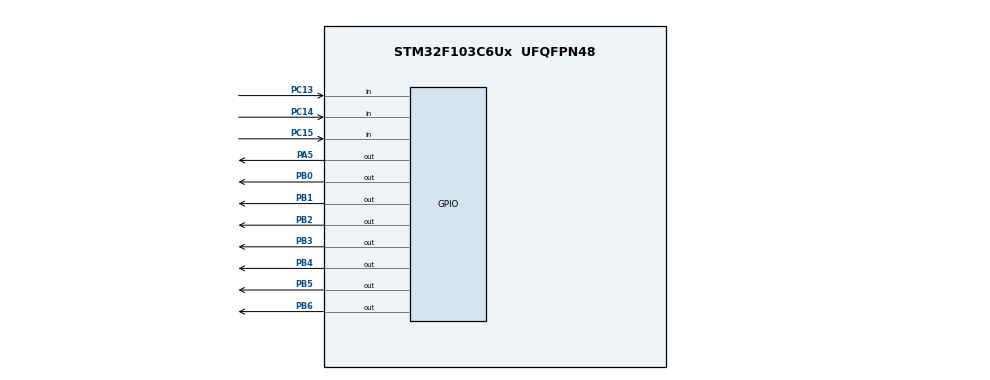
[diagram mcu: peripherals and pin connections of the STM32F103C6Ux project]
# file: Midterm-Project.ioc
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Mcu.Family=STM32F1
Mcu.Name=STM32F103C6Ux
Mcu.Package=UFQFPN48
NVIC.PriorityGroup=NVIC_PRIORITYGROUP_4
NVIC.TIM2_IRQn=true\:0\:0\:false\:false\:true\:true\:true
PA5.Signal=GPIO_Output
PB0.Signal=GPIO_Output
PB1.Signal=GPIO_Output
PB2.Signal=GPIO_Output
PB3.Signal=GPIO_Output
PB4.Signal=GPIO_Output
PB5.Signal=GPIO_Output
PB6.Signal=GPIO_Output
PC13-TAMPER-RTC.GPIO_PuPd=GPIO_PULLUP
PC13-TAMPER-RTC.Signal=GPIO_Input
PC14-OSC32_IN.GPIO_PuPd=GPIO_PULLUP
PC14-OSC32_IN.Signal=GPIO_Input
PC15-OSC32_OUT.GPIO_PuPd=GPIO_PULLUP
PC15-OSC32_OUT.Signal=GPIO_Input
ProjectManager.HeapSize=0x200
ProjectManager.StackSize=0x400
ProjectManager.TargetToolchain=STM32CubeIDE
RCC.APB1Freq_Value=8000000
RCC.APB2Freq_Value=8000000
TIM2.Period=9
TIM2.Prescaler=7999
VP_SYS_VS_ND.Mode=No_Debug
VP_TIM2_VS_ClockSourceINT.Mode=Internal
board=custom

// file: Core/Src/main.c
/* USER CODE BEGIN Header */
/**
  ******************************************************************************
  * @file           : main.c
  * @brief          : Main program body
  ******************************************************************************
  * @attention
  *
  * <h2><center>&copy; Copyright (c) 2022 STMicroelectronics.
  * All rights reserved.</center></h2>
  *
  * This software component is licensed by ST under BSD 3-Clause license,
  * the "License"; You may not use this file except in compliance with the
  * License. You may obtain a copy of the License at:
  *                        opensource.org/licenses/BSD-3-Clause
  *
  ******************************************************************************
  */
/* USER CODE END Header */
#include "main.h"

/* USER CODE BEGIN Includes */
#include "timer.h"
#include "7segdisplay.h"
#include "fsm_step1.h"
#include "button.h"
#include "DebugLed.h"
#include "fsm_step2.h"
#include "fsm_step3.h"
/* USER CODE END Includes */

TIM_HandleTypeDef htim2;

void SystemClock_Config(void);
static void MX_GPIO_Init(void);
static void MX_TIM2_Init(void);

int main(void)
{

  /* MCU Configuration--------------------------------------------------------*/

  /* Reset of all peripherals, Initializes the Flash interface and the Systick. */
  HAL_Init();

  /* Configure the system clock */
  SystemClock_Config();

  /* Initialize all configured peripherals */
  MX_GPIO_Init();
  MX_TIM2_Init();
  /* USER CODE BEGIN 2 */
  HAL_TIM_Base_Start_IT(&htim2);
  /* USER CODE END 2 */

  /* Infinite loop */
  /* USER CODE BEGIN WHILE */
  status = BUTT_0;
  ledstatus = LED_INIT;
  while (1)
  {
    /* USER CODE END WHILE */
	  fsm_step1();
	  DebugLed();
	  fsm_step2();
	  fsm_step3();
  }
}

void SystemClock_Config(void)
{
  RCC_OscInitTypeDef RCC_OscInitStruct = {0};
  RCC_ClkInitTypeDef RCC_ClkInitStruct = {0};

  /** Initializes the RCC Oscillators according to the specified parameters
  * in the RCC_OscInitTypeDef structure.
  */
  RCC_OscInitStruct.OscillatorType = RCC_OSCILLATORTYPE_HSI;
  RCC_OscInitStruct.HSIState = RCC_HSI_ON;
  RCC_OscInitStruct.HSICalibrationValue = RCC_HSICALIBRATION_DEFAULT;
  RCC_OscInitStruct.PLL.PLLState = RCC_PLL_NONE;
  if (HAL_RCC_OscConfig(&RCC_OscInitStruct) != HAL_OK)
  {
    Error_Handler();
  }
  /** Initializes the CPU, AHB and APB buses clocks
  */
  RCC_ClkInitStruct.ClockType = RCC_CLOCKTYPE_HCLK|RCC_CLOCKTYPE_SYSCLK
                              |RCC_CLOCKTYPE_PCLK1|RCC_CLOCKTYPE_PCLK2;
  RCC_ClkInitStruct.SYSCLKSource = RCC_SYSCLKSOURCE_HSI;
  RCC_ClkInitStruct.AHBCLKDivider = RCC_SYSCLK_DIV1;
  RCC_ClkInitStruct.APB1CLKDivider = RCC_HCLK_DIV1;
  RCC_ClkInitStruct.APB2CLKDivider = RCC_HCLK_DIV1;

  if (HAL_RCC_ClockConfig(&RCC_ClkInitStruct, FLASH_LATENCY_0) != HAL_OK)
  {
    Error_Handler();
  }
}

static void MX_TIM2_Init(void)
{

  TIM_ClockConfigTypeDef sClockSourceConfig = {0};
  TIM_MasterConfigTypeDef sMasterConfig = {0};

  htim2.Instance = TIM2;
  htim2.Init.Prescaler = 7999;
  htim2.Init.CounterMode = TIM_COUNTERMODE_UP;
  htim2.Init.Period = 9;
  htim2.Init.ClockDivision = TIM_CLOCKDIVISION_DIV1;
  htim2.Init.AutoReloadPreload = TIM_AUTORELOAD_PRELOAD_DISABLE;
  if (HAL_TIM_Base_Init(&htim2) != HAL_OK)
  {
    Error_Handler();
  }
  sClockSourceConfig.ClockSource = TIM_CLOCKSOURCE_INTERNAL;
  if (HAL_TIM_ConfigClockSource(&htim2, &sClockSourceConfig) != HAL_OK)
  {
    Error_Handler();
  }
  sMasterConfig.MasterOutputTrigger = TIM_TRGO_RESET;
  sMasterConfig.MasterSlaveMode = TIM_MASTERSLAVEMODE_DISABLE;
  if (HAL_TIMEx_MasterConfigSynchronization(&htim2, &sMasterConfig) != HAL_OK)
  {
    Error_Handler();
  }

}

static void MX_GPIO_Init(void)
{
  GPIO_InitTypeDef GPIO_InitStruct = {0};

  /* GPIO Ports Clock Enable */
  __HAL_RCC_GPIOC_CLK_ENABLE();
  __HAL_RCC_GPIOA_CLK_ENABLE();
  __HAL_RCC_GPIOB_CLK_ENABLE();

  /*Configure GPIO pin Output Level */
  HAL_GPIO_WritePin(GPIOA, GPIO_PIN_5, GPIO_PIN_RESET);

  /*Configure GPIO pin Output Level */
  HAL_GPIO_WritePin(GPIOB, GPIO_PIN_0|GPIO_PIN_1|GPIO_PIN_2|GPIO_PIN_3
                          |GPIO_PIN_4|GPIO_PIN_5|GPIO_PIN_6, GPIO_PIN_RESET);

  /*Configure GPIO pins : PC13 PC14 PC15 */
  GPIO_InitStruct.Pin = GPIO_PIN_13|GPIO_PIN_14|GPIO_PIN_15;
  GPIO_InitStruct.Mode = GPIO_MODE_INPUT;
  GPIO_InitStruct.Pull = GPIO_PULLUP;
  HAL_GPIO_Init(GPIOC, &GPIO_InitStruct);

  /*Configure GPIO pin : PA5 */
  GPIO_InitStruct.Pin = GPIO_PIN_5;
  GPIO_InitStruct.Mode = GPIO_MODE_OUTPUT_PP;
  GPIO_InitStruct.Pull = GPIO_NOPULL;
  GPIO_InitStruct.Speed = GPIO_SPEED_FREQ_LOW;
  HAL_GPIO_Init(GPIOA, &GPIO_InitStruct);

  /*Configure GPIO pins : PB0 PB1 PB2 PB3
                           PB4 PB5 PB6 */
  GPIO_InitStruct.Pin = GPIO_PIN_0|GPIO_PIN_1|GPIO_PIN_2|GPIO_PIN_3
                          |GPIO_PIN_4|GPIO_PIN_5|GPIO_PIN_6;
  GPIO_InitStruct.Mode = GPIO_MODE_OUTPUT_PP;
  GPIO_InitStruct.Pull = GPIO_NOPULL;
  GPIO_InitStruct.Speed = GPIO_SPEED_FREQ_LOW;
  HAL_GPIO_Init(GPIOB, &GPIO_InitStruct);

}

/* USER CODE BEGIN 4 */
void HAL_TIM_PeriodElapsedCallback(TIM_HandleTypeDef *htim){
	timerRun();
	getKeyInput();
	getKeyInput1();
	getKeyInput2();
}
/* USER CODE END 4 */

void Error_Handler(void)
{
  __disable_irq();
  while (1)
  {
  }
}

/************************ (C) COPYRIGHT STMicroelectronics *****END OF FILE****/
